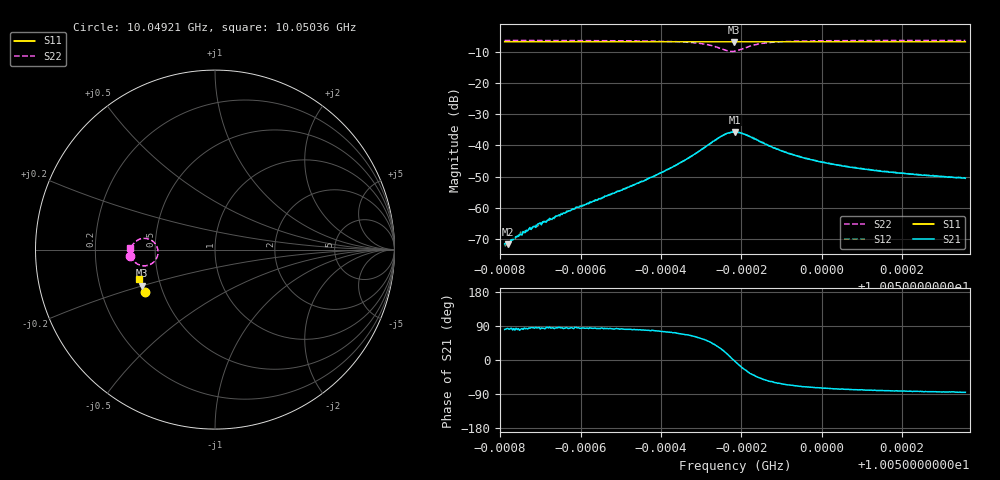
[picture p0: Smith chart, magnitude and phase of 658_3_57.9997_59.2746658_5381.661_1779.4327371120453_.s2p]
#  HZ  S  RI  R  50.00
! Rohde & Schwarz Vector Network Analyzer
! Rohde-Schwarz,ZNB20-2Port,1311601062101988,3.16
! Created: UTC 3/21/2024, 1:19:51 AM
! freq[Hz]  re:S11  im:S11  re:S21  im:S21  re:S12  im:S12  re:S22  im:S22
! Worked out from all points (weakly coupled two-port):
!   401 points, 10.04921 GHz to 10.05036 GHz, reference 50 ohm
!   highest |S21| = -35.71 dB at 10.04978 GHz (marker M1); lowest = -71.7 dB at 10.04922 GHz (marker M2)
!   lowest |S11| = -6.9 dB at 10.04978 GHz (marker M3), VSWR 2.65, Z = 19.8 - j9.97 ohm
!   |S11| at or under -10 dB: nowhere
!   |S22| runs from -10.0 to -6.5 dB; largest |S21 - S12| = 0.0014
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1.0049211e10  -0.3893 -0.2344  4.29e-05 0.000262  1.76e-05 0.000244  -0.4739 -0.033
1.004922e10  -0.3896 -0.2339  3.24e-05 0.000259  2.66e-05 0.000281  -0.4739 -0.0323
1.0049251e10  -0.3906 -0.2321  5.74e-05 0.000373  2.97e-05 0.000413  -0.4737 -0.0293
1.004926e10  -0.391 -0.2316  4.05e-05 0.000409  3.21e-05 0.000376  -0.4738 -0.0283
1.00493e10  -0.3921 -0.2293  8.18e-05 0.000571  3.56e-05 0.000529  -0.4736 -0.0244
1.0049334e10  -0.3935 -0.2272  8.81e-05 0.000688  1.9e-05 0.000672  -0.4734 -0.0207
1.0049403e10  -0.3955 -0.2231  0.000115 0.00106  1.82e-05 0.00108  -0.4727 -0.0125
1.0049561e10  -0.4003 -0.2139  0.000538 0.00271  0.00037 0.00277  -0.466 0.0131
1.0049595e10  -0.4012 -0.2117  0.000838 0.00345  0.000665 0.00346  -0.4622 0.0214
1.0049661e10  -0.4029 -0.2076  0.0023 0.00541  0.002 0.00553  -0.4453 0.043
1.0049701e10  -0.404 -0.2048  0.00476 0.00715  0.0043 0.0074  -0.4192 0.0585
1.004973e10  -0.4043 -0.2033  0.00857 0.00785  0.00785 0.00833  -0.383 0.062
1.0049759e10  -0.4046 -0.2016  0.0138 0.00549  0.0134 0.00654  -0.3339 0.0341
1.0049782e10  -0.4047 -0.2007  0.0163 -0.000213  0.0163 0.00107  -0.3177 -0.0222
1.0049785e10  -0.4049 -0.2007  0.0164 -0.000976  0.0164 0.000202  -0.3188 -0.0298
1.0049816e10  -0.4061 -0.1994  0.0123 -0.00747  0.0128 -0.00649  -0.3653 -0.0849
1.0049856e10  -0.4076 -0.1974  0.00671 -0.00843  0.0074 -0.00815  -0.4217 -0.0851
1.0049914e10  -0.4095 -0.1939  0.00316 -0.0069  0.00365 -0.00674  -0.4541 -0.0621
1.0049977e10  -0.4115 -0.1899  0.00182 -0.00558  0.00218 -0.00548  -0.4658 -0.0427
1.0050057e10  -0.4135 -0.185  0.00102 -0.00451  0.0013 -0.00448  -0.4717 -0.0261
1.0050169e10  -0.4164 -0.1783  0.000568 -0.00366  0.000817 -0.00366  -0.4742 -0.0101
1.0050358e10  -0.4208 -0.1665  0.00024 -0.00297  0.000419 -0.00299  -0.4755 0.00958
